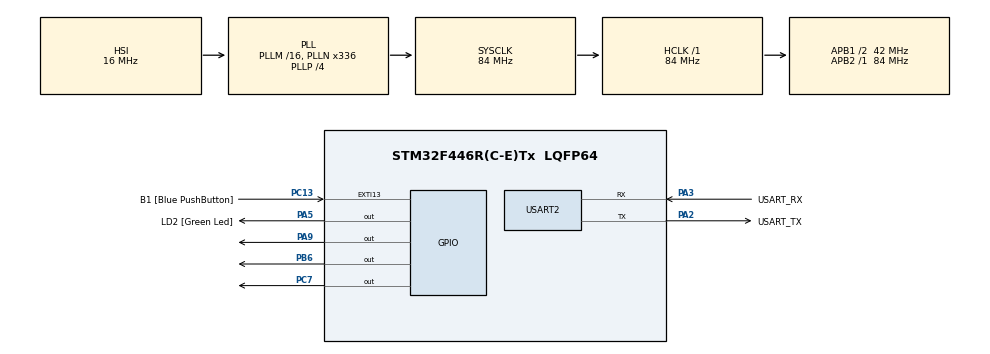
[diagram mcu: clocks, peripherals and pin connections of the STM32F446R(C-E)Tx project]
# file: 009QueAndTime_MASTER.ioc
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Mcu.Family=STM32F4
Mcu.Name=STM32F446R(C-E)Tx
Mcu.Package=LQFP64
NVIC.PriorityGroup=NVIC_PRIORITYGROUP_4
NVIC.TIM5_IRQn=true\:0\:0\:false\:false\:true\:false\:true
NVIC.TimeBase=TIM5_IRQn
NVIC.TimeBaseIP=TIM5
NVIC.USART2_IRQn=true\:0\:0\:false\:false\:true\:true\:true
PA13.GPIO_Label=TMS
PA13.Signal=SYS_JTMS-SWDIO
PA14.GPIO_Label=TCK
PA14.Signal=SYS_JTCK-SWCLK
PA2.GPIO_Label=USART_TX
PA2.Mode=Asynchronous
PA2.Signal=USART2_TX
PA3.GPIO_Label=USART_RX
PA3.Mode=Asynchronous
PA3.Signal=USART2_RX
PA5.GPIO_Label=LD2 [Green Led]
PA5.Signal=GPIO_Output
PA9.Signal=GPIO_Output
PB3.GPIO_Label=SWO
PB3.Signal=SYS_JTDO-SWO
PB6.Signal=GPIO_Output
PC13.GPIO_Label=B1 [Blue PushButton]
PC13.GPIO_ModeDefaultEXTI=GPIO_MODE_IT_FALLING
PC13.Signal=GPXTI13
PC14-OSC32_IN.Signal=RCC_OSC32_IN
PC15-OSC32_OUT.Signal=RCC_OSC32_OUT
PC7.Signal=GPIO_Output
PH0-OSC_IN.Signal=RCC_OSC_IN
PH1-OSC_OUT.Signal=RCC_OSC_OUT
ProjectManager.HeapSize=0x200
ProjectManager.StackSize=0x400
ProjectManager.TargetToolchain=STM32CubeIDE
RCC.AHBFreq_Value=84000000
RCC.APB1CLKDivider=RCC_HCLK_DIV2
RCC.APB1Freq_Value=42000000
RCC.APB1TimFreq_Value=84000000
RCC.APB2Freq_Value=84000000
RCC.APB2TimFreq_Value=84000000
RCC.CortexFreq_Value=84000000
RCC.FLatency-AdvancedSettings=FLASH_LATENCY_2
RCC.HCLKFreq_Value=84000000
RCC.HSE_VALUE=8000000
RCC.HSI_VALUE=16000000
RCC.LSE_VALUE=32768
RCC.PLLN=336
RCC.PLLP=RCC_PLLP_DIV4
RCC.SYSCLKFreq_VALUE=84000000
RCC.SYSCLKSource=RCC_SYSCLKSOURCE_PLLCLK
RCC.USBFreq_Value=168000000
RCC.VCOOutputFreq_Value=336000000
RTC.HourFormat=RTC_HOURFORMAT_12
USART2.VirtualMode=VM_ASYNC
VP_RTC_VS_RTC_Activate.Mode=RTC_Enabled
VP_SYS_VS_tim5.Mode=TIM5
board=NUCLEO-F446RE

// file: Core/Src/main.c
/* USER CODE BEGIN Header */
/**
  ******************************************************************************
  * @file           : main.c
  * @brief          : Main program body
  ******************************************************************************
  * @attention
  *
  * Copyright (c) 2022 STMicroelectronics.
  * All rights reserved.
  *
  * This software is licensed under terms that can be found in the LICENSE file
  * in the root directory of this software component.
  * If no LICENSE file comes with this software, it is provided AS-IS.
  *
  ******************************************************************************
  */
/* USER CODE END Header */
#include "main.h"

/* USER CODE BEGIN Includes */
#include <stdio.h>

#include <stdlib.h>

#include <string.h>

#include "FreeRTOS.h"

#include "task.h"

#include "queue.h"

#include "timers.h"

#include "semphr.h"

#include "SEGGER_SYSVIEW.h"
/* USER CODE END Includes */

RTC_HandleTypeDef hrtc;

UART_HandleTypeDef huart2;

/* USER CODE BEGIN PV */
#define DWT_CTRL (*(volatile uint32_t*)0xE0001000)
volatile uint8_t rxByte;
QueueHandle_t qData;
QueueHandle_t qPrint;
TaskHandle_t menuTaskHandle;
TaskHandle_t cmdTaskHandle;
TaskHandle_t printTaskHandle;
TaskHandle_t ledTaskHandle;
TaskHandle_t rtcTaskHandle;
BaseType_t status;
state_t currentState = sMainMenu;

/* Software Timer */
TaskHandle_t ledTimerHandle[4];

/* USER CODE END PV */

void SystemClock_Config(void);
static void MX_GPIO_Init(void);
static void MX_RTC_Init(void);
static void MX_USART2_UART_Init(void);
void led_effect_callback(TimerHandle_t xTimer);
/* USER CODE BEGIN PFP */

//extern void SEGGER_UART_init(U32 baud);
/* USER CODE END PFP */

int main(void)
{

  /* MCU Configuration--------------------------------------------------------*/

  /* Reset of all peripherals, Initializes the Flash interface and the Systick. */
  HAL_Init();

  /* Configure the system clock */
  SystemClock_Config();

  /* Initialize all configured peripherals */
  MX_GPIO_Init();
  MX_RTC_Init();
  MX_USART2_UART_Init();
  //To Start the Sysview recording we have to Call these
//  SEGGER_UART_init(250000);//UART
  /* USER CODE BEGIN 2 */
  DWT_CTRL |= (1<<0); //Set the zeroth bit to one //SEGGER UART

//  SEGGER_SYSVIEW_Conf();
//  SEGGER_SYSVIEW_Start(); //Already done in UART

  status = xTaskCreate( menuTask, "Menu_Task", 250, NULL , 2, &menuTaskHandle );
  configASSERT(status == pdPASS);
  status = xTaskCreate( cmdTask, "Cmd_Task", 250, NULL , 2, &cmdTaskHandle );
  configASSERT(status == pdPASS);
  status = xTaskCreate( printTask, "Print_Task", 250, NULL , 2, &printTaskHandle );
  configASSERT(status == pdPASS);
  status = xTaskCreate( ledTask, "Led_Task", 250, NULL , 2, &ledTaskHandle );
  configASSERT(status == pdPASS);
  status = xTaskCreate( rtcTask, "Rtc_Task", 250, NULL , 2, &rtcTaskHandle );
  configASSERT(status == pdPASS);

  qData = xQueueCreate(10,sizeof(char)); //(10*1)
  configASSERT(qData != NULL);

  qPrint = xQueueCreate(10,sizeof(long unsigned int)); //(10*4)
  configASSERT(qData != NULL);

  for(int i=0;i<4;i++)
  {
	  ledTimerHandle[i] = xTimerCreate("led Timer",pdMS_TO_TICKS(500),pdTRUE, (void*)(i+1),led_effect_callback);
  }
  /* USER CODE END 2 */

  /* Infinite loop */
  /* USER CODE BEGIN WHILE */
  HAL_UART_Receive_IT(&huart2, (uint8_t *)&rxByte , sizeof(rxByte));

  vTaskStartScheduler();
  while (1)
  {
    /* USER CODE END WHILE */

  }
}

void SystemClock_Config(void)
{
  RCC_OscInitTypeDef RCC_OscInitStruct = {0};
  RCC_ClkInitTypeDef RCC_ClkInitStruct = {0};

  /** Configure the main internal regulator output voltage
  */
  __HAL_RCC_PWR_CLK_ENABLE();
  __HAL_PWR_VOLTAGESCALING_CONFIG(PWR_REGULATOR_VOLTAGE_SCALE3);
  /** Initializes the RCC Oscillators according to the specified parameters
  * in the RCC_OscInitTypeDef structure.
  */
  RCC_OscInitStruct.OscillatorType = RCC_OSCILLATORTYPE_HSI|RCC_OSCILLATORTYPE_LSI;
  RCC_OscInitStruct.LSEState = RCC_LSE_OFF;
  RCC_OscInitStruct.HSIState = RCC_HSI_ON;
  RCC_OscInitStruct.HSICalibrationValue = RCC_HSICALIBRATION_DEFAULT;
  RCC_OscInitStruct.LSIState = RCC_LSI_ON;
  RCC_OscInitStruct.PLL.PLLState = RCC_PLL_ON;
  RCC_OscInitStruct.PLL.PLLSource = RCC_PLLSOURCE_HSI;
  RCC_OscInitStruct.PLL.PLLM = 16;
  RCC_OscInitStruct.PLL.PLLN = 336;
  RCC_OscInitStruct.PLL.PLLP = RCC_PLLP_DIV4;
  RCC_OscInitStruct.PLL.PLLQ = 2;
  RCC_OscInitStruct.PLL.PLLR = 2;
  if (HAL_RCC_OscConfig(&RCC_OscInitStruct) != HAL_OK)
  {
    Error_Handler();
  }
  /** Initializes the CPU, AHB and APB buses clocks
  */
  RCC_ClkInitStruct.ClockType = RCC_CLOCKTYPE_HCLK|RCC_CLOCKTYPE_SYSCLK
                              |RCC_CLOCKTYPE_PCLK1|RCC_CLOCKTYPE_PCLK2;
  RCC_ClkInitStruct.SYSCLKSource = RCC_SYSCLKSOURCE_PLLCLK;
  RCC_ClkInitStruct.AHBCLKDivider = RCC_SYSCLK_DIV1;
  RCC_ClkInitStruct.APB1CLKDivider = RCC_HCLK_DIV2;
  RCC_ClkInitStruct.APB2CLKDivider = RCC_HCLK_DIV1;

  if (HAL_RCC_ClockConfig(&RCC_ClkInitStruct, FLASH_LATENCY_2) != HAL_OK)
  {
    Error_Handler();
  }
}

static void MX_RTC_Init(void)
{

  /** Initialize RTC Only
  */
  hrtc.Instance = RTC;
  hrtc.Init.HourFormat = RTC_HOURFORMAT_12;
  hrtc.Init.AsynchPrediv = 127;
  hrtc.Init.SynchPrediv = 255;
  hrtc.Init.OutPut = RTC_OUTPUT_DISABLE;
  hrtc.Init.OutPutPolarity = RTC_OUTPUT_POLARITY_HIGH;
  hrtc.Init.OutPutType = RTC_OUTPUT_TYPE_OPENDRAIN;
  if (HAL_RTC_Init(&hrtc) != HAL_OK)
  {
    Error_Handler();
  }

}

static void MX_USART2_UART_Init(void)
{

  huart2.Instance = USART2;
  huart2.Init.BaudRate = 115200;
  huart2.Init.WordLength = UART_WORDLENGTH_8B;
  huart2.Init.StopBits = UART_STOPBITS_1;
  huart2.Init.Parity = UART_PARITY_NONE;
  huart2.Init.Mode = UART_MODE_TX_RX;
  huart2.Init.HwFlowCtl = UART_HWCONTROL_NONE;
  huart2.Init.OverSampling = UART_OVERSAMPLING_16;
  if (HAL_UART_Init(&huart2) != HAL_OK)
  {
    Error_Handler();
  }

}

static void MX_GPIO_Init(void)
{
  GPIO_InitTypeDef GPIO_InitStruct = {0};

  /* GPIO Ports Clock Enable */
  __HAL_RCC_GPIOC_CLK_ENABLE();
  __HAL_RCC_GPIOH_CLK_ENABLE();
  __HAL_RCC_GPIOA_CLK_ENABLE();
  __HAL_RCC_GPIOB_CLK_ENABLE();

  /*Configure GPIO pin Output Level */
  HAL_GPIO_WritePin(GPIOA, LD2_Pin|GPIO_PIN_9, GPIO_PIN_RESET);

  /*Configure GPIO pin Output Level */
  HAL_GPIO_WritePin(GPIOC, GPIO_PIN_7, GPIO_PIN_RESET);

  /*Configure GPIO pin Output Level */
  HAL_GPIO_WritePin(GPIOB, GPIO_PIN_6, GPIO_PIN_RESET);

  /*Configure GPIO pin : B1_Pin */
  GPIO_InitStruct.Pin = B1_Pin;
  GPIO_InitStruct.Mode = GPIO_MODE_IT_FALLING;
  GPIO_InitStruct.Pull = GPIO_NOPULL;
  HAL_GPIO_Init(B1_GPIO_Port, &GPIO_InitStruct);

  /*Configure GPIO pins : LD2_Pin PA9 */
  GPIO_InitStruct.Pin = LD2_Pin|GPIO_PIN_9;
  GPIO_InitStruct.Mode = GPIO_MODE_OUTPUT_PP;
  GPIO_InitStruct.Pull = GPIO_NOPULL;
  GPIO_InitStruct.Speed = GPIO_SPEED_FREQ_LOW;
  HAL_GPIO_Init(GPIOA, &GPIO_InitStruct);

  /*Configure GPIO pin : PC7 */
  GPIO_InitStruct.Pin = GPIO_PIN_7;
  GPIO_InitStruct.Mode = GPIO_MODE_OUTPUT_PP;
  GPIO_InitStruct.Pull = GPIO_NOPULL;
  GPIO_InitStruct.Speed = GPIO_SPEED_FREQ_LOW;
  HAL_GPIO_Init(GPIOC, &GPIO_InitStruct);

  /*Configure GPIO pin : PB6 */
  GPIO_InitStruct.Pin = GPIO_PIN_6;
  GPIO_InitStruct.Mode = GPIO_MODE_OUTPUT_PP;
  GPIO_InitStruct.Pull = GPIO_NOPULL;
  GPIO_InitStruct.Speed = GPIO_SPEED_FREQ_LOW;
  HAL_GPIO_Init(GPIOB, &GPIO_InitStruct);

}

/* USER CODE BEGIN 4 */
/**
  * @brief  Rx Transfer completed callbacks.
  * @param  huart  Pointer to a UART_HandleTypeDef structure that contains
  *                the configuration information for the specified UART module.
  * @retval None
  */
void HAL_UART_RxCpltCallback(UART_HandleTypeDef *huart)
{
	BaseType_t isQueueFull;
	uint8_t deleteLastByte;
	isQueueFull = xQueueIsQueueFullFromISR(qData);
if(isQueueFull == pdTRUE)/*Check if the queue is full or not*/
{
	/*Queue is full*/
	/*Enqueue the data bytes*/
	xQueueSendFromISR(qData,(void *)&rxByte,NULL);
}
else
{
	/*Queue is not full*/
	if(rxByte == "\n")/*Check if the rxByte is \n ?*/
	{
		/*rxByte is \n*/
		xQueueReceiveFromISR(qData,(void *)&deleteLastByte,NULL);
		xQueueSendFromISR(qData,(void *)&rxByte,NULL);
		/*Make sure the last data is \n*/
		/*Send notification to command handling task if user data is \n*/
		xTaskNotifyFromISR(cmdTaskHandle,0,eNoAction,NULL);
	}

	/*Enable uart data byte reception again in Interrupt mode*/
	HAL_UART_Receive_IT(&huart2, &rxByte ,1);
}
}/* end of HAL_UART_RxCpltCallback()*/

void led_effect_callback(TimerHandle_t xTimer)
{
	int iD;
	iD = (uint32_t) pvTimerGetTimerID( xTimer );

	switch(iD)
	{
	case 1:
		ledEffect(1);
		break;
	case 2:
		ledEffect(2);
		break;
	case 3:
		ledEffect(3);
		break;
	case 4:
		ledEffect(4);
		break;
	}
}
#if 0
void vApplicationIdleHook()
{
	HAL_PWR_EnterSLEEPMode(PWR_MAINREGULATOR_ON,PWR_SLEEPENTRY_WFI);
}
#endif
/* USER CODE END 4 */

void HAL_TIM_PeriodElapsedCallback(TIM_HandleTypeDef *htim)
{
  if (htim->Instance == TIM5) {
    HAL_IncTick();
  }
}

void Error_Handler(void)
{
  __disable_irq();
  while (1)
  {
  }
}
